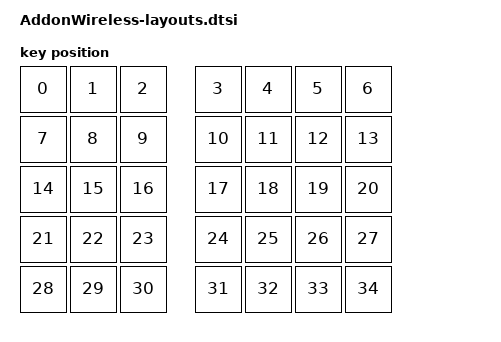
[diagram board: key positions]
#include <physical_layouts.dtsi>

/ {
    macropad_physical_layout: macropad_physical_layout {
        compatible = "zmk,physical-layout";
        display-name = "Macro pad";
        transform = <&transform>;
        kscan = <&kscan>;

        keys  //                     w   h      x    y     rot    rx    ry
            = <&key_physical_attrs 100 100      0    0       0     0     0>
            , <&key_physical_attrs 100 100    100    0       0     0     0>
            , <&key_physical_attrs 100 100    200    0       0     0     0>
            , <&key_physical_attrs 100 100    350    0       0     0     0>
            , <&key_physical_attrs 100 100    450    0       0     0     0>
            , <&key_physical_attrs 100 100    550    0       0     0     0>
            , <&key_physical_attrs 100 100    650    0       0     0     0>

            , <&key_physical_attrs 100 100      0  100       0     0     0>
            , <&key_physical_attrs 100 100    100  100       0     0     0>
            , <&key_physical_attrs 100 100    200  100       0     0     0>
            , <&key_physical_attrs 100 100    350  100       0     0     0>
            , <&key_physical_attrs 100 100    450  100       0     0     0>
            , <&key_physical_attrs 100 100    550  100       0     0     0>
            , <&key_physical_attrs 100 100    650  100       0     0     0>

            , <&key_physical_attrs 100 100      0  200       0     0     0>
            , <&key_physical_attrs 100 100    100  200       0     0     0>
            , <&key_physical_attrs 100 100    200  200       0     0     0>
            , <&key_physical_attrs 100 100    350  200       0     0     0>
            , <&key_physical_attrs 100 100    450  200       0     0     0>
            , <&key_physical_attrs 100 100    550  200       0     0     0>
            , <&key_physical_attrs 100 100    650  200       0     0     0>

            , <&key_physical_attrs 100 100      0  300       0     0     0>
            , <&key_physical_attrs 100 100    100  300       0     0     0>
            , <&key_physical_attrs 100 100    200  300       0     0     0>
            , <&key_physical_attrs 100 100    350  300       0     0     0>
            , <&key_physical_attrs 100 100    450  300       0     0     0>
            , <&key_physical_attrs 100 100    550  300       0     0     0>
            , <&key_physical_attrs 100 100    650  300       0     0     0>

            , <&key_physical_attrs 100 100      0  400       0     0     0>
            , <&key_physical_attrs 100 100    100  400       0     0     0>
            , <&key_physical_attrs 100 100    200  400       0     0     0>
            , <&key_physical_attrs 100 100    350  400       0     0     0>
            , <&key_physical_attrs 100 100    450  400       0     0     0>
            , <&key_physical_attrs 100 100    550  400       0     0     0>
            , <&key_physical_attrs 100 100    650  400       0     0     0>
            ;
    };
};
